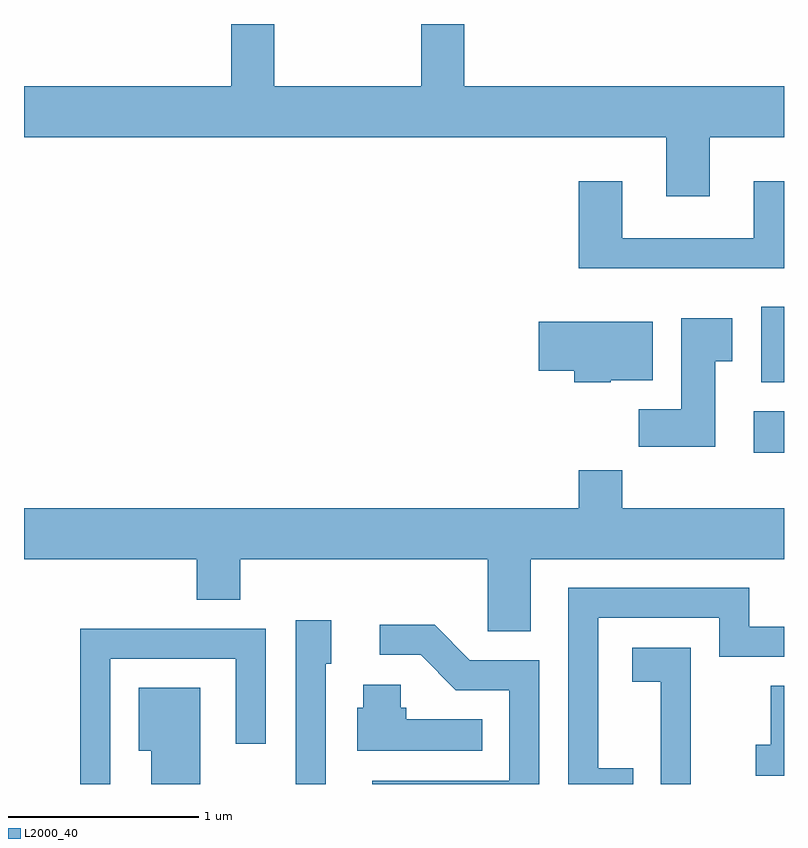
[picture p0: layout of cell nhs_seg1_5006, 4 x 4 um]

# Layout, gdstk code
import gdstk
lib = gdstk.Library(unit=1e-6, precision=1e-09)
def R(c, l, rs):  # rectangles x0, y0, x1, y1
    for r in rs: c.add(gdstk.rectangle(r[:2], r[2:], *l))
def P(c, l, *ps):  # polygons
    for p in ps: c.add(gdstk.Polygon(p, *l))
L2000_40 = (2000, 40)

nhs_seg1_5006 = lib.new_cell('nhs_seg1_5006')
R(nhs_seg1_5006, L2000_40, [(339.451,913.456,339.611,913.674), (339.491,913.826,339.611,914.224)])
P(nhs_seg1_5006, L2000_40, [(339.219,915.116),(339.611,915.116),(339.611,915.384),(337.929,915.384),(337.929,915.712),(337.701,915.712),(337.701,915.384),(336.929,915.384),(336.929,915.712),(336.701,915.712),(336.701,915.384),(335.611,915.384),(335.611,915.116),(338.991,915.116),(338.991,914.806),(339.219,914.806)],
  [(339.611,914.884),(339.451,914.884),(339.451,914.584),(338.759,914.584),(338.759,914.884),(338.531,914.884),(338.531,914.426),(339.611,914.426)],
  [(339.249,913.936),(339.339,913.936),(339.339,914.164),(339.071,914.164),(339.071,913.684),(338.846,913.684),(338.846,913.486),(339.249,913.486)],
  [(338.7,913.836),(338.919,913.836),(338.919,914.144),(338.321,914.144),(338.321,913.886),(338.506,913.886),(338.506,913.826),(338.7,913.826)],
  [(338.279,912.896),(339.611,912.896),(339.611,913.164),(338.759,913.164),(338.759,913.364),(338.531,913.364),(338.531,913.164),(335.611,913.164),(335.611,912.896),(336.521,912.896),(336.521,912.681),(336.749,912.681),(336.749,912.896),(338.051,912.896),(338.051,912.516),(338.279,912.516)],
  [(338.818,911.794),(338.634,911.794),(338.634,912.586),(339.271,912.586),(339.271,912.381),(339.611,912.381),(339.611,912.539),(339.429,912.539),(339.429,912.744),(338.476,912.744),(338.476,911.712),(338.818,911.712)],
  [(337.199,912.346),(337.229,912.346),(337.229,912.574),(337.041,912.574),(337.041,911.712),(337.199,911.712)],
  [(338.324,912.364),(337.957,912.364),(337.772,912.549),(337.483,912.549),(337.483,912.391),(337.699,912.391),(337.884,912.206),(338.166,912.206),(338.166,911.729),(337.443,911.729),(337.443,911.712),(338.324,911.712)],
  [(336.064,912.371),(336.726,912.371),(336.726,911.923),(336.884,911.923),(336.884,912.529),(335.906,912.529),(335.906,911.712),(336.064,911.712)],
  [(339.119,912.429),(338.811,912.429),(338.811,912.251),(338.961,912.251),(338.961,911.712),(339.119,911.712)],
  [(338.023,912.054),(337.624,912.054),(337.624,912.114),(337.594,912.114),(337.594,912.234),(337.396,912.234),(337.396,912.114),(337.366,912.114),(337.366,911.886),(338.023,911.886)],
  [(339.611,912.229),(339.541,912.229),(339.541,911.919),(339.463,911.919),(339.463,911.756),(339.611,911.756)],
  [(336.539,912.219),(336.216,912.219),(336.216,911.886),(336.281,911.886),(336.281,911.712),(336.539,911.712)])

lib.write_gds('nhs_seg1_5006.gds')
